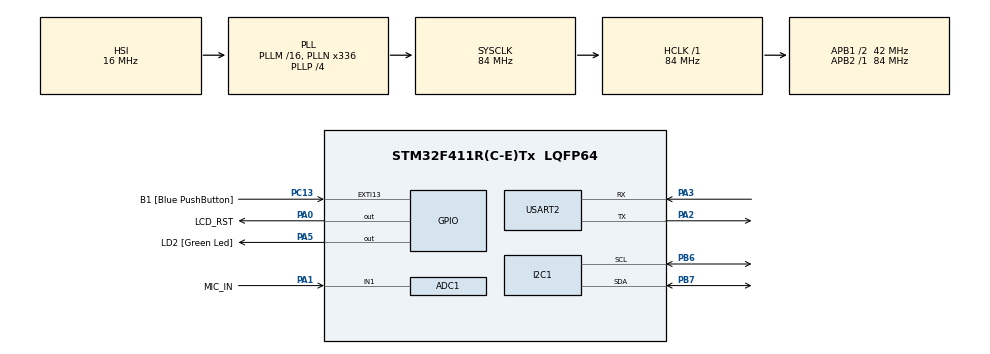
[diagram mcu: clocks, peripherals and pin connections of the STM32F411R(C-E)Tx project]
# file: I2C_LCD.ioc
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ADC1.Channel-1\#ChannelRegularConversion=ADC_CHANNEL_1
ADC1.ContinuousConvMode=DISABLE
ADC1.DMAContinuousRequests=ENABLE
ADC1.EOCSelection=ADC_EOC_SEQ_CONV
ADC1.ExternalTrigConv=ADC_EXTERNALTRIGCONV_T2_TRGO
ADC1.InjNumberOfConversion=0
ADC1.NbrOfConversion=1
ADC1.NbrOfConversionFlag=1
ADC1.Rank-1\#ChannelRegularConversion=1
ADC1.SamplingTime-1\#ChannelRegularConversion=ADC_SAMPLETIME_28CYCLES
ADC1.ScanConvMode=DISABLE
ADC1.master=1
Dma.ADC1.0.Direction=DMA_PERIPH_TO_MEMORY
Dma.ADC1.0.FIFOMode=DMA_FIFOMODE_DISABLE
Dma.ADC1.0.Instance=DMA2_Stream0
Dma.ADC1.0.MemDataAlignment=DMA_MDATAALIGN_HALFWORD
Dma.ADC1.0.MemInc=DMA_MINC_ENABLE
Dma.ADC1.0.Mode=DMA_CIRCULAR
Dma.ADC1.0.PeriphDataAlignment=DMA_PDATAALIGN_HALFWORD
Dma.ADC1.0.PeriphInc=DMA_PINC_DISABLE
Dma.ADC1.0.Priority=DMA_PRIORITY_LOW
Dma.Request0=ADC1
Dma.Request1=USART2_RX
Dma.USART2_RX.1.Direction=DMA_PERIPH_TO_MEMORY
Dma.USART2_RX.1.FIFOMode=DMA_FIFOMODE_DISABLE
Dma.USART2_RX.1.Instance=DMA1_Stream5
Dma.USART2_RX.1.MemDataAlignment=DMA_MDATAALIGN_BYTE
Dma.USART2_RX.1.MemInc=DMA_MINC_ENABLE
Dma.USART2_RX.1.Mode=DMA_NORMAL
Dma.USART2_RX.1.PeriphDataAlignment=DMA_PDATAALIGN_BYTE
Dma.USART2_RX.1.PeriphInc=DMA_PINC_DISABLE
Dma.USART2_RX.1.Priority=DMA_PRIORITY_LOW
Mcu.Family=STM32F4
Mcu.Name=STM32F411R(C-E)Tx
Mcu.Package=LQFP64
NVIC.DMA1_Stream5_IRQn=true\:0\:0\:false\:false\:true\:false\:true\:true
NVIC.DMA2_Stream0_IRQn=true\:0\:0\:false\:false\:true\:false\:true\:true
NVIC.PriorityGroup=NVIC_PRIORITYGROUP_0
PA0-WKUP.GPIO_Label=LCD_RST
PA0-WKUP.Signal=GPIO_Output
PA1.GPIO_Label=MIC_IN
PA1.Signal=ADCx_IN1
PA13.GPIO_Label=TMS
PA13.Mode=Serial_Wire
PA13.Signal=SYS_JTMS-SWDIO
PA14.GPIO_Label=TCK
PA14.Mode=Serial_Wire
PA14.Signal=SYS_JTCK-SWCLK
PA2.Mode=Asynchronous
PA2.Signal=USART2_TX
PA3.Mode=Asynchronous
PA3.Signal=USART2_RX
PA5.GPIO_Label=LD2 [Green Led]
PA5.Signal=GPIO_Output
PB3.GPIO_Label=SWO
PB3.Signal=SYS_JTDO-SWO
PB6.Mode=I2C
PB6.Signal=I2C1_SCL
PB7.GPIO_Pu=GPIO_NOPULL
PB7.Mode=I2C
PB7.Signal=I2C1_SDA
PC13-ANTI_TAMP.GPIO_Label=B1 [Blue PushButton]
PC13-ANTI_TAMP.GPIO_ModeDefaultEXTI=GPIO_MODE_IT_FALLING
PC13-ANTI_TAMP.Signal=GPXTI13
PC14-OSC32_IN.Mode=LSE-External-Oscillator
PC14-OSC32_IN.Signal=RCC_OSC32_IN
PC15-OSC32_OUT.Mode=LSE-External-Oscillator
PC15-OSC32_OUT.Signal=RCC_OSC32_OUT
PH0\ -\ OSC_IN.Mode=HSE-External-Clock-Source
PH0\ -\ OSC_IN.Signal=RCC_OSC_IN
PH1\ -\ OSC_OUT.Mode=HSE-External-Clock-Source
PH1\ -\ OSC_OUT.Signal=RCC_OSC_OUT
ProjectManager.HeapSize=0x200
ProjectManager.StackSize=0x400
ProjectManager.TargetToolchain=STM32CubeIDE
RCC.48MHZClocksFreq_Value=84000000
RCC.AHBFreq_Value=84000000
RCC.APB1CLKDivider=RCC_HCLK_DIV2
RCC.APB1Freq_Value=42000000
RCC.APB1TimFreq_Value=84000000
RCC.APB2Freq_Value=84000000
RCC.APB2TimFreq_Value=84000000
RCC.CortexFreq_Value=84000000
RCC.FLatency-AdvancedSettings=FLASH_LATENCY_2
RCC.HCLKFreq_Value=84000000
RCC.HSE_VALUE=8000000
RCC.HSI_VALUE=16000000
RCC.PLLN=336
RCC.PLLP=RCC_PLLP_DIV4
RCC.SYSCLKFreq_VALUE=84000000
RCC.SYSCLKSource=RCC_SYSCLKSOURCE_PLLCLK
RCC.VCOOutputFreq_Value=336000000
SH.ADCx_IN1.0=ADC1_IN1,IN1
TIM2.Period=3809
TIM2.TIM_MasterOutputTrigger=TIM_TRGO_UPDATE
USART2.Parity=PARITY_EVEN
USART2.VirtualMode=VM_ASYNC
USART2.WordLength=WORDLENGTH_9B
VP_TIM2_VS_ClockSourceINT.Mode=Internal
board=NUCLEO-F411RE

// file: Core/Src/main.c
/* USER CODE BEGIN Header */
/**
  ******************************************************************************
  * @file           : main.c
  * @brief          : Main program body
  ******************************************************************************
  * @attention
  *
  * Copyright (c) 2025 STMicroelectronics.
  * All rights reserved.
  *
  * This software is licensed under terms that can be found in the LICENSE file
  * in the root directory of this software component.
  * If no LICENSE file comes with this software, it is provided AS-IS.
  *
  ******************************************************************************
  */
/* USER CODE END Header */
#include "main.h"

/* USER CODE BEGIN Includes */
#include "lcd_driver.h"
#include "stm32f4xx_hal.h"
#include <stdlib.h>
#include <stdio.h>
#include <math.h>
/* USER CODE END Includes */

/* USER CODE BEGIN PD */
#define RX_BUFFER_SIZE 41
#define ADC_BUFFER_SIZE 1024
#define NOTE_QUEUE_SIZE 5

#define SAMPLE_RATE_HZ 22047.0f // ~84MHz / (PSC+1) / (ARR+1)
/* USER CODE END PD */

ADC_HandleTypeDef hadc1;
DMA_HandleTypeDef hdma_adc1;

I2C_HandleTypeDef hi2c1;

TIM_HandleTypeDef htim2;

UART_HandleTypeDef huart2;
DMA_HandleTypeDef hdma_usart2_rx;

/* USER CODE BEGIN PV */
uint16_t adc_buffer[ADC_BUFFER_SIZE];
uint8_t rx_buffer[RX_BUFFER_SIZE] = {0};

int16_t audio_frame[ADC_BUFFER_SIZE];
volatile uint8_t audio_ready_flag = 0;
float note_queue[NOTE_QUEUE_SIZE];

/* USER CODE END PV */

void SystemClock_Config(void);
static void MX_GPIO_Init(void);
static void MX_DMA_Init(void);
static void MX_I2C1_Init(void);
static void MX_USART2_UART_Init(void);
static void MX_ADC1_Init(void);
static void MX_TIM2_Init(void);

/* USER CODE BEGIN 0 */
static void center_clip(const int16_t *x, int16_t *y, int N)
{
    int16_t maxAbs = 0;

    // Find max |x|
    for (int i = 0; i < N; i++) {
        int16_t v = x[i];
        int16_t a = (v >= 0) ? v : -v;
        if (a > maxAbs) maxAbs = a;
    }

    // Clipping threshold ~ 50% of max
    int16_t CL = maxAbs / 2;

    for (int i = 0; i < N; i++) {
        int16_t v = x[i];
        if (v >= CL) {
            y[i] = v - CL;
        } else if (v <= -CL) {
            y[i] = v + CL;
        } else {
            y[i] = 0;
        }
    }
}
static float compute_pitch_macf(const int16_t *frame, int N, float fs, float f_min, float f_max) {
	static int16_t clipped[ADC_BUFFER_SIZE];

	// 1) Center clipping: y(n) from x(n)
	center_clip(frame, clipped, N);

	// 2) Lag range from frequency range
	int maxLag = (int)(fs / f_min);
	int minLag = (int)(fs / f_max);

	if (maxLag >= N) maxLag = N - 1;
	if (minLag < 1) minLag = 1;

	float bestR = 0.0f;
	int bestLag = 0;

	// 3) Autocorrelation over m lags
	for (int m = minLag; m <= maxLag; m++) {
		int32_t acc = 0;
		int count = N - m;

		for (int n = 0; n < count; n++) {
			acc += (int32_t)clipped[n] * (int32_t)clipped[n+m];	//
		}

		float Rm = (float)acc / (float)count; //normalization

		if (Rm > bestR) {
				bestR = Rm;
				bestLag = m;
		}
	}

	if (bestLag == 0) return 0.0f;

	// 4) lag -> frequency
	return fs / (float)bestLag;
}

float vote_f0(float f0s[5])
{
    // Copy array so we can sort it
    float a[5];
    for (int i = 0; i < 5; i++) a[i] = f0s[i];

    // Sort 5 values (simple insertion sort)
    for (int i = 1; i < 5; i++) {
        float key = a[i];
        int j = i - 1;
        while (j >= 0 && a[j] > key) {
            a[j + 1] = a[j];
            j--;
        }
        a[j + 1] = key;
    }

    // Median
    float median = a[2];         // index 2 in a 5-element sorted array
    float tol = median * 0.10f;  // ±10 percent tolerance

    // Average only inliers
    float sum = 0;
    int count = 0;

    for (int i = 0; i < 5; i++) {
        if (fabsf(f0s[i] - median) <= tol) {
            sum += f0s[i];
            count++;
        }
    }

    // Fallback if everything rejected (rare)
    if (count == 0)
        return median;

    return sum / (float)count;
}

/* USER CODE END 0 */

int main(void)
{

  /* MCU Configuration--------------------------------------------------------*/

  /* Reset of all peripherals, Initializes the Flash interface and the Systick. */
  HAL_Init();

  /* Configure the system clock */
  SystemClock_Config();

  /* Initialize all configured peripherals */
  MX_GPIO_Init();
  MX_DMA_Init();
  MX_I2C1_Init();
  MX_USART2_UART_Init();
  MX_ADC1_Init();
  MX_TIM2_Init();
  /* USER CODE BEGIN 2 */
  LCD_Init();
  HAL_TIM_Base_Start(&htim2);
  HAL_ADC_Start_DMA(&hadc1, (uint32_t*)adc_buffer, ADC_BUFFER_SIZE);

  LCD_SendString("Boot OK", 0);

  uint16_t note_queue_index = 0;
  /* USER CODE END 2 */

  /* Infinite loop */
  /* USER CODE BEGIN WHILE */
  while (1)
    {
		if (audio_ready_flag) {
			audio_ready_flag = 0;
			float f0 = compute_pitch_macf(
											audio_frame,
											ADC_BUFFER_SIZE,
											SAMPLE_RATE_HZ,
											82.0f,
											1000.0f
					);
			note_queue[note_queue_index] = f0;
			note_queue_index++;
		}

		if (note_queue_index >=5) {
			note_queue_index = 0;

			float f = vote_f0(note_queue);

			char lcd_line[21];
	        if (f > 0.0f) {
	            snprintf(lcd_line, sizeof(lcd_line), "f0: %7.1f Hz", f);
	        } else {
	            snprintf(lcd_line, sizeof(lcd_line), "f0:   ---");
	        }
			LCD_SendString(lcd_line, 0);

		}
		HAL_Delay(100);
  	}

    /* USER CODE END WHILE */

}

void SystemClock_Config(void)
{
  RCC_OscInitTypeDef RCC_OscInitStruct = {0};
  RCC_ClkInitTypeDef RCC_ClkInitStruct = {0};

  /** Configure the main internal regulator output voltage
  */
  __HAL_RCC_PWR_CLK_ENABLE();
  __HAL_PWR_VOLTAGESCALING_CONFIG(PWR_REGULATOR_VOLTAGE_SCALE1);

  /** Initializes the RCC Oscillators according to the specified parameters
  * in the RCC_OscInitTypeDef structure.
  */
  RCC_OscInitStruct.OscillatorType = RCC_OSCILLATORTYPE_HSI;
  RCC_OscInitStruct.HSIState = RCC_HSI_ON;
  RCC_OscInitStruct.HSICalibrationValue = RCC_HSICALIBRATION_DEFAULT;
  RCC_OscInitStruct.PLL.PLLState = RCC_PLL_ON;
  RCC_OscInitStruct.PLL.PLLSource = RCC_PLLSOURCE_HSI;
  RCC_OscInitStruct.PLL.PLLM = 16;
  RCC_OscInitStruct.PLL.PLLN = 336;
  RCC_OscInitStruct.PLL.PLLP = RCC_PLLP_DIV4;
  RCC_OscInitStruct.PLL.PLLQ = 4;
  if (HAL_RCC_OscConfig(&RCC_OscInitStruct) != HAL_OK)
  {
    Error_Handler();
  }

  /** Initializes the CPU, AHB and APB buses clocks
  */
  RCC_ClkInitStruct.ClockType = RCC_CLOCKTYPE_HCLK|RCC_CLOCKTYPE_SYSCLK
                              |RCC_CLOCKTYPE_PCLK1|RCC_CLOCKTYPE_PCLK2;
  RCC_ClkInitStruct.SYSCLKSource = RCC_SYSCLKSOURCE_PLLCLK;
  RCC_ClkInitStruct.AHBCLKDivider = RCC_SYSCLK_DIV1;
  RCC_ClkInitStruct.APB1CLKDivider = RCC_HCLK_DIV2;
  RCC_ClkInitStruct.APB2CLKDivider = RCC_HCLK_DIV1;

  if (HAL_RCC_ClockConfig(&RCC_ClkInitStruct, FLASH_LATENCY_2) != HAL_OK)
  {
    Error_Handler();
  }
}

static void MX_ADC1_Init(void)
{

  ADC_ChannelConfTypeDef sConfig = {0};

  /** Configure the global features of the ADC (Clock, Resolution, Data Alignment and number of conversion)
  */
  hadc1.Instance = ADC1;
  hadc1.Init.ClockPrescaler = ADC_CLOCK_SYNC_PCLK_DIV4;
  hadc1.Init.Resolution = ADC_RESOLUTION_12B;
  hadc1.Init.ScanConvMode = DISABLE;
  hadc1.Init.ContinuousConvMode = DISABLE;
  hadc1.Init.DiscontinuousConvMode = DISABLE;
  hadc1.Init.ExternalTrigConvEdge = ADC_EXTERNALTRIGCONVEDGE_RISING;
  hadc1.Init.ExternalTrigConv = ADC_EXTERNALTRIGCONV_T2_TRGO;
  hadc1.Init.DataAlign = ADC_DATAALIGN_RIGHT;
  hadc1.Init.NbrOfConversion = 1;
  hadc1.Init.DMAContinuousRequests = ENABLE;
  hadc1.Init.EOCSelection = ADC_EOC_SEQ_CONV;
  if (HAL_ADC_Init(&hadc1) != HAL_OK)
  {
    Error_Handler();
  }

  /** Configure for the selected ADC regular channel its corresponding rank in the sequencer and its sample time.
  */
  sConfig.Channel = ADC_CHANNEL_1;
  sConfig.Rank = 1;
  sConfig.SamplingTime = ADC_SAMPLETIME_28CYCLES;
  if (HAL_ADC_ConfigChannel(&hadc1, &sConfig) != HAL_OK)
  {
    Error_Handler();
  }

}

static void MX_I2C1_Init(void)
{

  hi2c1.Instance = I2C1;
  hi2c1.Init.ClockSpeed = 100000;
  hi2c1.Init.DutyCycle = I2C_DUTYCYCLE_2;
  hi2c1.Init.OwnAddress1 = 0;
  hi2c1.Init.AddressingMode = I2C_ADDRESSINGMODE_7BIT;
  hi2c1.Init.DualAddressMode = I2C_DUALADDRESS_DISABLE;
  hi2c1.Init.OwnAddress2 = 0;
  hi2c1.Init.GeneralCallMode = I2C_GENERALCALL_DISABLE;
  hi2c1.Init.NoStretchMode = I2C_NOSTRETCH_DISABLE;
  if (HAL_I2C_Init(&hi2c1) != HAL_OK)
  {
    Error_Handler();
  }

}

static void MX_TIM2_Init(void)
{

  TIM_ClockConfigTypeDef sClockSourceConfig = {0};
  TIM_MasterConfigTypeDef sMasterConfig = {0};

  htim2.Instance = TIM2;
  htim2.Init.Prescaler = 0;
  htim2.Init.CounterMode = TIM_COUNTERMODE_UP;
  htim2.Init.Period = 3809;
  htim2.Init.ClockDivision = TIM_CLOCKDIVISION_DIV1;
  htim2.Init.AutoReloadPreload = TIM_AUTORELOAD_PRELOAD_DISABLE;
  if (HAL_TIM_Base_Init(&htim2) != HAL_OK)
  {
    Error_Handler();
  }
  sClockSourceConfig.ClockSource = TIM_CLOCKSOURCE_INTERNAL;
  if (HAL_TIM_ConfigClockSource(&htim2, &sClockSourceConfig) != HAL_OK)
  {
    Error_Handler();
  }
  sMasterConfig.MasterOutputTrigger = TIM_TRGO_UPDATE;
  sMasterConfig.MasterSlaveMode = TIM_MASTERSLAVEMODE_DISABLE;
  if (HAL_TIMEx_MasterConfigSynchronization(&htim2, &sMasterConfig) != HAL_OK)
  {
    Error_Handler();
  }

}

static void MX_USART2_UART_Init(void)
{

  huart2.Instance = USART2;
  huart2.Init.BaudRate = 115200;
  huart2.Init.WordLength = UART_WORDLENGTH_9B;
  huart2.Init.StopBits = UART_STOPBITS_1;
  huart2.Init.Parity = UART_PARITY_EVEN;
  huart2.Init.Mode = UART_MODE_TX_RX;
  huart2.Init.HwFlowCtl = UART_HWCONTROL_NONE;
  huart2.Init.OverSampling = UART_OVERSAMPLING_16;
  if (HAL_UART_Init(&huart2) != HAL_OK)
  {
    Error_Handler();
  }

}

static void MX_DMA_Init(void)
{

  /* DMA controller clock enable */
  __HAL_RCC_DMA2_CLK_ENABLE();
  __HAL_RCC_DMA1_CLK_ENABLE();

  /* DMA interrupt init */
  /* DMA1_Stream5_IRQn interrupt configuration */
  HAL_NVIC_SetPriority(DMA1_Stream5_IRQn, 0, 0);
  HAL_NVIC_EnableIRQ(DMA1_Stream5_IRQn);
  /* DMA2_Stream0_IRQn interrupt configuration */
  HAL_NVIC_SetPriority(DMA2_Stream0_IRQn, 0, 0);
  HAL_NVIC_EnableIRQ(DMA2_Stream0_IRQn);

}

static void MX_GPIO_Init(void)
{
  GPIO_InitTypeDef GPIO_InitStruct = {0};

  /* GPIO Ports Clock Enable */
  __HAL_RCC_GPIOC_CLK_ENABLE();
  __HAL_RCC_GPIOH_CLK_ENABLE();
  __HAL_RCC_GPIOA_CLK_ENABLE();
  __HAL_RCC_GPIOB_CLK_ENABLE();

  /*Configure GPIO pin Output Level */
  HAL_GPIO_WritePin(GPIOA, LCD_RST_Pin|LD2_Pin, GPIO_PIN_RESET);

  /*Configure GPIO pin : B1_Pin */
  GPIO_InitStruct.Pin = B1_Pin;
  GPIO_InitStruct.Mode = GPIO_MODE_IT_FALLING;
  GPIO_InitStruct.Pull = GPIO_NOPULL;
  HAL_GPIO_Init(B1_GPIO_Port, &GPIO_InitStruct);

  /*Configure GPIO pins : LCD_RST_Pin LD2_Pin */
  GPIO_InitStruct.Pin = LCD_RST_Pin|LD2_Pin;
  GPIO_InitStruct.Mode = GPIO_MODE_OUTPUT_PP;
  GPIO_InitStruct.Pull = GPIO_NOPULL;
  GPIO_InitStruct.Speed = GPIO_SPEED_FREQ_LOW;
  HAL_GPIO_Init(GPIOA, &GPIO_InitStruct);

}

/* USER CODE BEGIN 4 */
void HAL_ADC_ConvCpltCallback(ADC_HandleTypeDef* hadc) {
    if (hadc->Instance == ADC1) {
    	for (int i =0; i < ADC_BUFFER_SIZE; i++) {
    		int16_t v = (int16_t)adc_buffer[i];
    		audio_frame[i] = v - 2085;
    	}
    	audio_ready_flag = 1;
    }
}

void HAL_UART_RxCpltCallback(UART_HandleTypeDef *huart) {
    if (huart->Instance == USART2) {
        // process buffer, for example:
        LCD_SendString((char*)rx_buffer, 0);
        memset(rx_buffer, 0, RX_BUFFER_SIZE);
        HAL_UART_Receive_DMA(&huart2, rx_buffer, RX_BUFFER_SIZE); // Restart DMA
    }
}

/* USER CODE END 4 */

void Error_Handler(void)
{
  __disable_irq();
  while (1)
  {
  }
}
